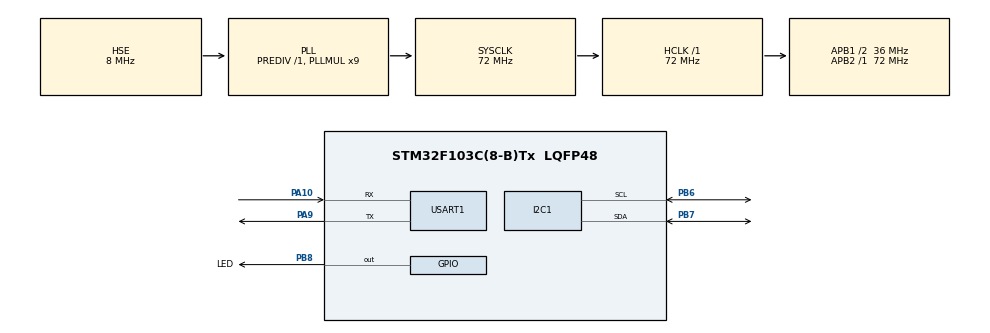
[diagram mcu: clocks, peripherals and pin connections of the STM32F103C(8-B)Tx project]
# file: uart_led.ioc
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Dma.I2C1_RX.0.Direction=DMA_PERIPH_TO_MEMORY
Dma.I2C1_RX.0.Instance=DMA1_Channel7
Dma.I2C1_RX.0.MemDataAlignment=DMA_MDATAALIGN_BYTE
Dma.I2C1_RX.0.MemInc=DMA_MINC_ENABLE
Dma.I2C1_RX.0.Mode=DMA_NORMAL
Dma.I2C1_RX.0.PeriphDataAlignment=DMA_PDATAALIGN_BYTE
Dma.I2C1_RX.0.PeriphInc=DMA_PINC_DISABLE
Dma.I2C1_RX.0.Priority=DMA_PRIORITY_LOW
Dma.I2C1_TX.1.Direction=DMA_MEMORY_TO_PERIPH
Dma.I2C1_TX.1.Instance=DMA1_Channel6
Dma.I2C1_TX.1.MemDataAlignment=DMA_MDATAALIGN_BYTE
Dma.I2C1_TX.1.MemInc=DMA_MINC_ENABLE
Dma.I2C1_TX.1.Mode=DMA_NORMAL
Dma.I2C1_TX.1.PeriphDataAlignment=DMA_PDATAALIGN_BYTE
Dma.I2C1_TX.1.PeriphInc=DMA_PINC_DISABLE
Dma.I2C1_TX.1.Priority=DMA_PRIORITY_LOW
Dma.Request0=I2C1_RX
Dma.Request1=I2C1_TX
Mcu.Family=STM32F1
Mcu.Name=STM32F103C(8-B)Tx
Mcu.Package=LQFP48
NVIC.DMA1_Channel6_IRQn=true\:0\:0\:false\:false\:true\:false\:true\:true
NVIC.DMA1_Channel7_IRQn=true\:0\:0\:false\:false\:true\:false\:true\:true
NVIC.PriorityGroup=NVIC_PRIORITYGROUP_4
NVIC.TIM4_IRQn=true\:15\:0\:false\:false\:true\:false\:true\:true
NVIC.TimeBase=TIM4_IRQn
NVIC.TimeBaseIP=TIM4
PA10.Mode=Asynchronous
PA10.Signal=USART1_RX
PA13.Mode=Serial_Wire
PA13.Signal=SYS_JTMS-SWDIO
PA14.Mode=Serial_Wire
PA14.Signal=SYS_JTCK-SWCLK
PA9.Mode=Asynchronous
PA9.Signal=USART1_TX
PB6.Mode=I2C
PB6.Signal=I2C1_SCL
PB7.Mode=I2C
PB7.Signal=I2C1_SDA
PB8.GPIO_Label=LED
PB8.Signal=GPIO_Output
PD0-OSC_IN.Mode=HSE-External-Oscillator
PD0-OSC_IN.Signal=RCC_OSC_IN
PD1-OSC_OUT.Mode=HSE-External-Oscillator
PD1-OSC_OUT.Signal=RCC_OSC_OUT
ProjectManager.HeapSize=0x200
ProjectManager.StackSize=0x400
ProjectManager.TargetToolchain=CMake
RCC.AHBFreq_Value=72000000
RCC.APB1CLKDivider=RCC_HCLK_DIV2
RCC.APB1Freq_Value=36000000
RCC.APB1TimFreq_Value=72000000
RCC.APB2Freq_Value=72000000
RCC.APB2TimFreq_Value=72000000
RCC.HCLKFreq_Value=72000000
RCC.PLLMUL=RCC_PLL_MUL9
RCC.PLLSourceVirtual=RCC_PLLSOURCE_HSE
RCC.SYSCLKFreq_VALUE=72000000
RCC.SYSCLKSource=RCC_SYSCLKSOURCE_PLLCLK
RCC.USBFreq_Value=72000000
USART1.VirtualMode=VM_ASYNC
VP_SYS_VS_tim4.Mode=TIM4
board=custom

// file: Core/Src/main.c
/* USER CODE BEGIN Header */
/**
  ******************************************************************************
  * @file           : main.c
  * @brief          : Main program body
  ******************************************************************************
  * @attention
  *
  * Copyright (c) 2024 STMicroelectronics.
  * All rights reserved.
  *
  * This software is licensed under terms that can be found in the LICENSE file
  * in the root directory of this software component.
  * If no LICENSE file comes with this software, it is provided AS-IS.
  *
  ******************************************************************************
  */
/* USER CODE END Header */
#include "main.h"

/* USER CODE BEGIN Includes */
#include <cJSON.h>
#include <stdlib.h>
#include <stdio.h>
#include <string.h>
#include <SEGGER_RTT.h>
/* USER CODE END Includes */

I2C_HandleTypeDef hi2c1;
DMA_HandleTypeDef hdma_i2c1_rx;
DMA_HandleTypeDef hdma_i2c1_tx;

UART_HandleTypeDef huart1;

/* USER CODE BEGIN PV */
static const uint8_t board_str[] = "STM32F103CBT6";
static const char test_json[] = "{\"name\": \"kabirz\", \"age\": 34}";
static cJSON *root;
/* USER CODE END PV */

void SystemClock_Config(void);
static void MX_GPIO_Init(void);
static void MX_DMA_Init(void);
static void MX_USART1_UART_Init(void);
static void MX_I2C1_Init(void);

/* USER CODE BEGIN 0 */
#ifdef __GNUC__
  #define PUTCHAR_PROTOTYPE int __io_putchar(int ch)
#else
  #define PUTCHAR_PROTOTYPE int fputc(int ch, FILE *f)
#endif
PUTCHAR_PROTOTYPE
{
  HAL_UART_Transmit(&huart1, (uint8_t *)&ch, 1, HAL_MAX_DELAY);
  return ch;
}

void load_json(void)
{
  cJSON *tmp;

  if (root == NULL) {
    root = cJSON_Parse(test_json);
  }

  tmp = cJSON_GetObjectItem(root, "age");
  if (tmp) {
    cJSON_SetNumberValue(tmp, tmp->valueint + 1);
  }

  char *str = cJSON_Print(root);
  if (str) {
    printf("data: %s\n", str);
    free(str);
  } else {
    printf("malloc failed\n");
  }
}
/* USER CODE END 0 */

int main(void)
{

  /* MCU Configuration--------------------------------------------------------*/

  /* Reset of all peripherals, Initializes the Flash interface and the Systick. */
  HAL_Init();

  /* Configure the system clock */
  SystemClock_Config();

  /* Initialize all configured peripherals */
  MX_GPIO_Init();
  MX_DMA_Init();
  MX_USART1_UART_Init();
  MX_I2C1_Init();
  /* USER CODE BEGIN 2 */
  printf("BOARD: %s, System clock: %luMHz\n", board_str, SystemCoreClock/1000000);
  SEGGER_RTT_printf(0, "BOARD: %s, System clock: %dMHz\n", board_str, SystemCoreClock/1000000);
  /* USER CODE END 2 */

  /* Infinite loop */
  /* USER CODE BEGIN WHILE */
  while (1)
  {
    HAL_GPIO_TogglePin(LED_GPIO_Port, LED_Pin);
    HAL_Delay(500);
    load_json();
    /* USER CODE END WHILE */

  }
}

void SystemClock_Config(void)
{
  RCC_OscInitTypeDef RCC_OscInitStruct = {0};
  RCC_ClkInitTypeDef RCC_ClkInitStruct = {0};

  /** Initializes the RCC Oscillators according to the specified parameters
  * in the RCC_OscInitTypeDef structure.
  */
  RCC_OscInitStruct.OscillatorType = RCC_OSCILLATORTYPE_HSE;
  RCC_OscInitStruct.HSEState = RCC_HSE_ON;
  RCC_OscInitStruct.HSEPredivValue = RCC_HSE_PREDIV_DIV1;
  RCC_OscInitStruct.HSIState = RCC_HSI_ON;
  RCC_OscInitStruct.PLL.PLLState = RCC_PLL_ON;
  RCC_OscInitStruct.PLL.PLLSource = RCC_PLLSOURCE_HSE;
  RCC_OscInitStruct.PLL.PLLMUL = RCC_PLL_MUL9;
  if (HAL_RCC_OscConfig(&RCC_OscInitStruct) != HAL_OK)
  {
    Error_Handler();
  }

  /** Initializes the CPU, AHB and APB buses clocks
  */
  RCC_ClkInitStruct.ClockType = RCC_CLOCKTYPE_HCLK|RCC_CLOCKTYPE_SYSCLK
                              |RCC_CLOCKTYPE_PCLK1|RCC_CLOCKTYPE_PCLK2;
  RCC_ClkInitStruct.SYSCLKSource = RCC_SYSCLKSOURCE_PLLCLK;
  RCC_ClkInitStruct.AHBCLKDivider = RCC_SYSCLK_DIV1;
  RCC_ClkInitStruct.APB1CLKDivider = RCC_HCLK_DIV2;
  RCC_ClkInitStruct.APB2CLKDivider = RCC_HCLK_DIV1;

  if (HAL_RCC_ClockConfig(&RCC_ClkInitStruct, FLASH_LATENCY_2) != HAL_OK)
  {
    Error_Handler();
  }
}

static void MX_I2C1_Init(void)
{

  hi2c1.Instance = I2C1;
  hi2c1.Init.ClockSpeed = 100000;
  hi2c1.Init.DutyCycle = I2C_DUTYCYCLE_2;
  hi2c1.Init.OwnAddress1 = 0;
  hi2c1.Init.AddressingMode = I2C_ADDRESSINGMODE_7BIT;
  hi2c1.Init.DualAddressMode = I2C_DUALADDRESS_DISABLE;
  hi2c1.Init.OwnAddress2 = 0;
  hi2c1.Init.GeneralCallMode = I2C_GENERALCALL_DISABLE;
  hi2c1.Init.NoStretchMode = I2C_NOSTRETCH_DISABLE;
  if (HAL_I2C_Init(&hi2c1) != HAL_OK)
  {
    Error_Handler();
  }

}

static void MX_USART1_UART_Init(void)
{

  huart1.Instance = USART1;
  huart1.Init.BaudRate = 115200;
  huart1.Init.WordLength = UART_WORDLENGTH_8B;
  huart1.Init.StopBits = UART_STOPBITS_1;
  huart1.Init.Parity = UART_PARITY_NONE;
  huart1.Init.Mode = UART_MODE_TX_RX;
  huart1.Init.HwFlowCtl = UART_HWCONTROL_NONE;
  huart1.Init.OverSampling = UART_OVERSAMPLING_16;
  if (HAL_UART_Init(&huart1) != HAL_OK)
  {
    Error_Handler();
  }

}

static void MX_DMA_Init(void)
{

  /* DMA controller clock enable */
  __HAL_RCC_DMA1_CLK_ENABLE();

  /* DMA interrupt init */
  /* DMA1_Channel6_IRQn interrupt configuration */
  HAL_NVIC_SetPriority(DMA1_Channel6_IRQn, 0, 0);
  HAL_NVIC_EnableIRQ(DMA1_Channel6_IRQn);
  /* DMA1_Channel7_IRQn interrupt configuration */
  HAL_NVIC_SetPriority(DMA1_Channel7_IRQn, 0, 0);
  HAL_NVIC_EnableIRQ(DMA1_Channel7_IRQn);

}

static void MX_GPIO_Init(void)
{
  GPIO_InitTypeDef GPIO_InitStruct = {0};

  /* GPIO Ports Clock Enable */
  __HAL_RCC_GPIOD_CLK_ENABLE();
  __HAL_RCC_GPIOA_CLK_ENABLE();
  __HAL_RCC_GPIOB_CLK_ENABLE();

  /*Configure GPIO pin Output Level */
  HAL_GPIO_WritePin(LED_GPIO_Port, LED_Pin, GPIO_PIN_RESET);

  /*Configure GPIO pin : LED_Pin */
  GPIO_InitStruct.Pin = LED_Pin;
  GPIO_InitStruct.Mode = GPIO_MODE_OUTPUT_PP;
  GPIO_InitStruct.Pull = GPIO_NOPULL;
  GPIO_InitStruct.Speed = GPIO_SPEED_FREQ_LOW;
  HAL_GPIO_Init(LED_GPIO_Port, &GPIO_InitStruct);

}

void HAL_TIM_PeriodElapsedCallback(TIM_HandleTypeDef *htim)
{
  if (htim->Instance == TIM4) {
    HAL_IncTick();
  }
}

void Error_Handler(void)
{
  __disable_irq();
  while (1)
  {
  }
}
